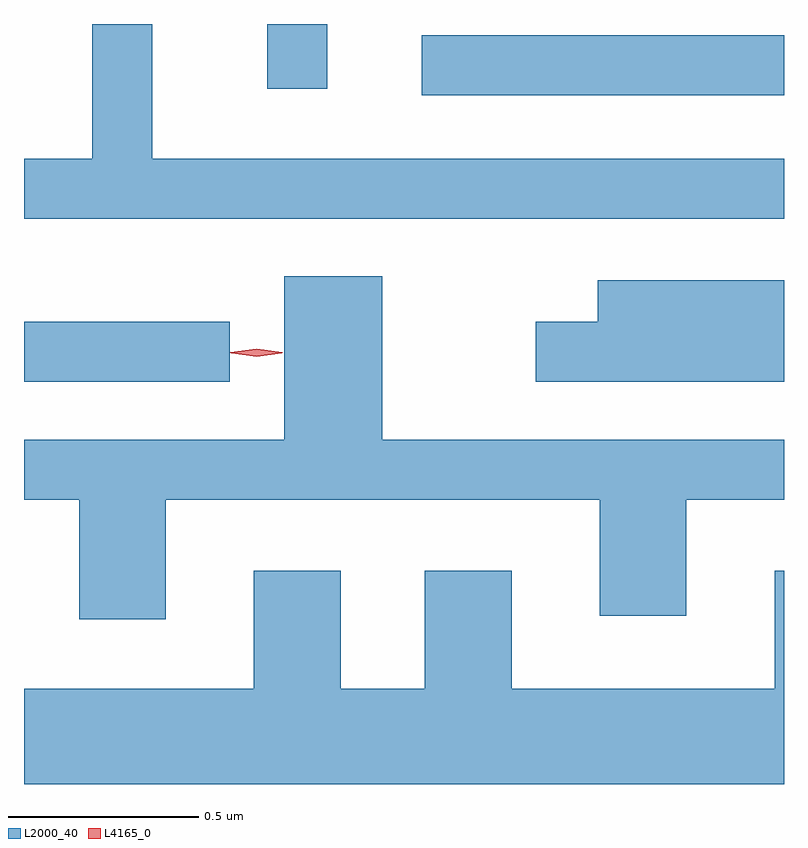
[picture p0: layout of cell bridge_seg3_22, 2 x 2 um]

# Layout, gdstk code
import gdstk
lib = gdstk.Library(unit=1e-6, precision=1e-09)
def R(c, l, rs):  # rectangles x0, y0, x1, y1
    for r in rs: c.add(gdstk.rectangle(r[:2], r[2:], *l))
def P(c, l, *ps):  # polygons
    for p in ps: c.add(gdstk.Polygon(p, *l))
L2000_40 = (2000, 40)
L4165_0 = (4165, 0)

bridge_seg3_22 = lib.new_cell('bridge_seg3_22')
R(bridge_seg3_22, L2000_40, [(1328.566,1162.611,1329.108,1162.769), (1329.613,1163.366,1330.566,1163.524), (1329.206,1163.383,1329.364,1163.553)])
P(bridge_seg3_22, L2000_40, [(1330.566,1163.199),(1328.904,1163.199),(1328.904,1163.553),(1328.746,1163.553),(1328.746,1163.199),(1328.566,1163.199),(1328.566,1163.041),(1330.566,1163.041)],
  [(1328.939,1162.301),(1330.081,1162.301),(1330.081,1161.996),(1330.309,1161.996),(1330.309,1162.301),(1330.566,1162.301),(1330.566,1162.459),(1329.509,1162.459),(1329.509,1162.889),(1329.251,1162.889),(1329.251,1162.459),(1328.566,1162.459),(1328.566,1162.301),(1328.711,1162.301),(1328.711,1161.986),(1328.939,1161.986)],
  [(1330.566,1162.879),(1330.076,1162.879),(1330.076,1162.769),(1329.913,1162.769),(1329.913,1162.611),(1330.566,1162.611)],
  [(1330.566,1162.114),(1330.541,1162.114),(1330.541,1161.804),(1329.849,1161.804),(1329.849,1162.114),(1329.621,1162.114),(1329.621,1161.804),(1329.399,1161.804),(1329.399,1162.114),(1329.171,1162.114),(1329.171,1161.804),(1328.566,1161.804),(1328.566,1161.553),(1330.566,1161.553)])
P(bridge_seg3_22, L4165_0, [(1329.178,1162.678),(1329.109,1162.688),(1329.109,1162.688),(1329.109,1162.689),(1329.178,1162.698),(1329.246,1162.689),(1329.247,1162.688),(1329.246,1162.688)],
  [(1329.178,1162.677),(1329.113,1162.687),(1329.112,1162.687),(1329.113,1162.688),(1329.178,1162.697),(1329.244,1162.688),(1329.244,1162.687),(1329.244,1162.687)])

lib.write_gds('bridge_seg3_22.gds')
